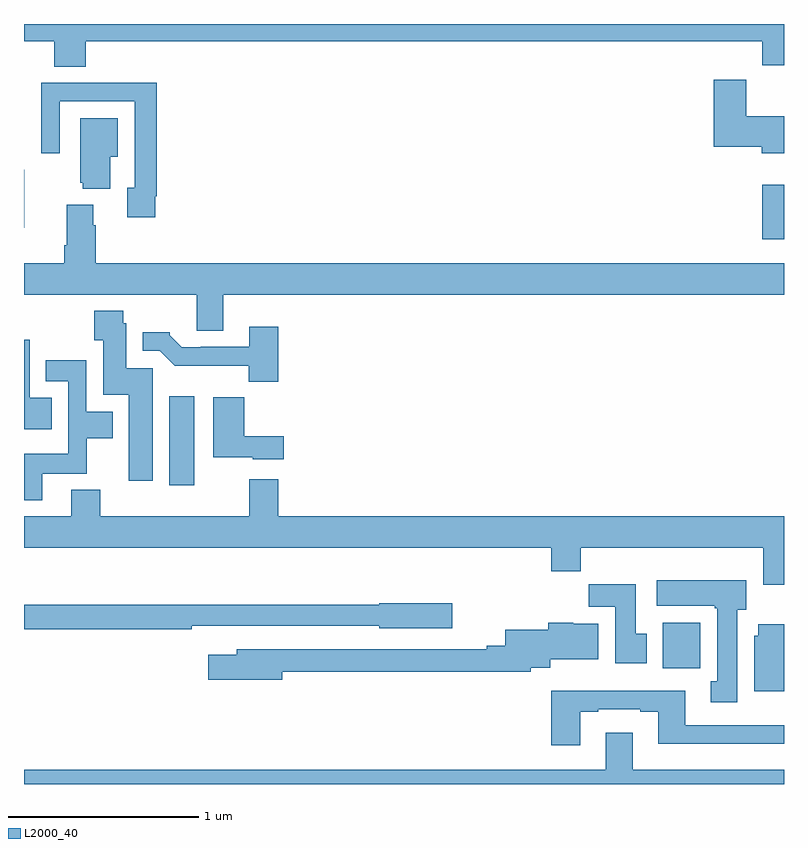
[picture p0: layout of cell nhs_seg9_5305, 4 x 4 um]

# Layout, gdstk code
import gdstk
lib = gdstk.Library(unit=1e-6, precision=1e-09)
def R(c, l, rs):  # rectangles x0, y0, x1, y1
    for r in rs: c.add(gdstk.rectangle(r[:2], r[2:], *l))
def P(c, l, *ps):  # polygons
    for p in ps: c.add(gdstk.Polygon(p, *l))
L2000_40 = (2000, 40)

nhs_seg9_5305 = lib.new_cell('nhs_seg9_5305')
R(nhs_seg9_5305, L2000_40, [(422.363,1205.108,422.56,1205.35), (419.765,1206.072,419.896,1206.541), (422.885,1207.368,423,1207.654), (419,1207.427,419.001,1207.733)])
P(nhs_seg9_5305, L2000_40, [(419.324,1208.408),(422.885,1208.408),(422.885,1208.284),(423,1208.284),(423,1208.5),(419,1208.5),(419,1208.408),(419.159,1208.408),(419.159,1208.275),(419.324,1208.275)],
  [(423,1208.014),(422.8,1208.014),(422.8,1208.206),(422.63,1208.206),(422.63,1207.853),(422.882,1207.853),(422.882,1207.82),(423,1207.82)],
  [(419.692,1207.594),(419.699,1207.594),(419.699,1208.192),(419.407,1208.192),(419.407,1208.19),(419.091,1208.19),(419.091,1207.821),(419.187,1207.821),(419.187,1208.094),(419.583,1208.094),(419.583,1207.638),(419.543,1207.638),(419.543,1207.482),(419.692,1207.482)],
  [(419.455,1207.802),(419.494,1207.802),(419.494,1208.005),(419.297,1208.005),(419.297,1207.665),(419.309,1207.665),(419.309,1207.634),(419.455,1207.634)],
  [(420.049,1207.076),(423,1207.076),(423,1207.24),(419.378,1207.24),(419.378,1207.442),(419.365,1207.442),(419.365,1207.549),(419.225,1207.549),(419.225,1207.336),(419.213,1207.336),(419.213,1207.24),(419,1207.24),(419,1207.076),(419.909,1207.076),(419.909,1206.886),(420.049,1206.886)],
  [(419.677,1206.687),(419.539,1206.687),(419.539,1206.924),(419.523,1206.924),(419.523,1206.991),(419.371,1206.991),(419.371,1206.835),(419.417,1206.835),(419.417,1206.548),(419.552,1206.548),(419.552,1206.096),(419.677,1206.096)],
  [(420.338,1206.907),(420.185,1206.907),(420.185,1206.801),(419.929,1206.801),(419.929,1206.798),(419.83,1206.798),(419.766,1206.862),(419.766,1206.877),(419.624,1206.877),(419.624,1206.78),(419.715,1206.78),(419.794,1206.702),(420.183,1206.702),(420.183,1206.617),(420.338,1206.617)],
  [(419.147,1206.532),(419.029,1206.532),(419.029,1206.838),(419,1206.838),(419,1206.368),(419.147,1206.368)],
  [(419.095,1206.134),(419.331,1206.134),(419.331,1206.32),(419.467,1206.32),(419.467,1206.46),(419.328,1206.46),(419.328,1206.73),(419.115,1206.73),(419.115,1206.621),(419.232,1206.621),(419.232,1206.238),(419,1206.238),(419,1205.994),(419.095,1205.994)],
  [(420.367,1206.331),(420.158,1206.331),(420.158,1206.535),(419.996,1206.535),(419.996,1206.221),(420.204,1206.221),(420.204,1206.209),(420.367,1206.209)],
  [(423,1205.908),(420.338,1205.908),(420.338,1206.103),(420.185,1206.103),(420.185,1205.908),(419.402,1205.908),(419.402,1206.049),(419.249,1206.049),(419.249,1205.908),(419,1205.908),(419,1205.744),(421.775,1205.744),(421.775,1205.62),(421.931,1205.62),(421.931,1205.744),(422.891,1205.744),(422.891,1205.55),(423,1205.55)],
  [(422.755,1205.418),(422.8,1205.418),(422.8,1205.572),(422.331,1205.572),(422.331,1205.438),(422.635,1205.438),(422.635,1205.425),(422.648,1205.425),(422.648,1205.042),(422.615,1205.042),(422.615,1204.929),(422.755,1204.929)],
  [(422.278,1205.292),(422.221,1205.292),(422.221,1205.551),(421.972,1205.551),(421.972,1205.432),(422.111,1205.432),(422.111,1205.136),(422.278,1205.136)],
  [(419.882,1205.334),(420.87,1205.334),(420.87,1205.321),(421.255,1205.321),(421.255,1205.451),(420.87,1205.451),(420.87,1205.443),(419,1205.443),(419,1205.314),(419.882,1205.314)],
  [(420.358,1205.092),(421.667,1205.092),(421.667,1205.111),(421.771,1205.111),(421.771,1205.156),(422.023,1205.156),(422.023,1205.344),(421.89,1205.344),(421.89,1205.35),(421.76,1205.35),(421.76,1205.311),(421.532,1205.311),(421.532,1205.228),(421.436,1205.228),(421.436,1205.208),(420.119,1205.208),(420.119,1205.179),(419.97,1205.179),(419.97,1205.05),(420.358,1205.05)],
  [(423,1205.341),(422.864,1205.341),(422.864,1205.28),(422.843,1205.28),(422.843,1204.988),(423,1204.988)],
  [(421.927,1204.881),(422.023,1204.881),(422.023,1204.893),(422.243,1204.893),(422.243,1204.881),(422.339,1204.881),(422.339,1204.712),(423,1204.712),(423,1204.809),(422.479,1204.809),(422.479,1204.99),(421.775,1204.99),(421.775,1204.704),(421.927,1204.704)],
  [(423,1204.576),(422.203,1204.576),(422.203,1204.771),(422.063,1204.771),(422.063,1204.576),(419,1204.576),(419,1204.5),(423,1204.5)])

lib.write_gds('nhs_seg9_5305.gds')
